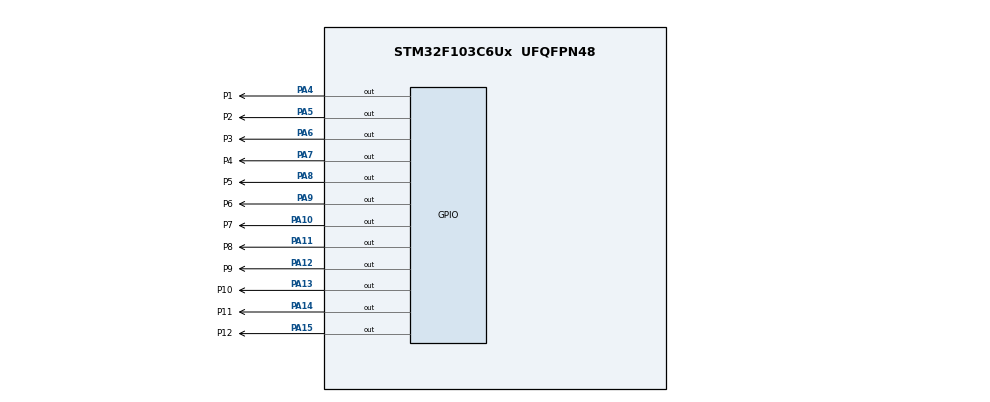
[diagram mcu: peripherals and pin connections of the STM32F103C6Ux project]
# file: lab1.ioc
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Mcu.Family=STM32F1
Mcu.Name=STM32F103C6Ux
Mcu.Package=UFQFPN48
NVIC.PriorityGroup=NVIC_PRIORITYGROUP_4
PA10.GPIO_Label=P7
PA10.Signal=GPIO_Output
PA11.GPIO_Label=P8
PA11.Signal=GPIO_Output
PA12.GPIO_Label=P9
PA12.Signal=GPIO_Output
PA13.GPIO_Label=P10
PA13.Signal=GPIO_Output
PA14.GPIO_Label=P11
PA14.Signal=GPIO_Output
PA15.GPIO_Label=P12
PA15.Signal=GPIO_Output
PA4.GPIO_Label=P1
PA4.Signal=GPIO_Output
PA5.GPIO_Label=P2
PA5.Signal=GPIO_Output
PA6.GPIO_Label=P3
PA6.Signal=GPIO_Output
PA7.GPIO_Label=P4
PA7.Signal=GPIO_Output
PA8.GPIO_Label=P5
PA8.Signal=GPIO_Output
PA9.GPIO_Label=P6
PA9.Signal=GPIO_Output
ProjectManager.HeapSize=0x200
ProjectManager.StackSize=0x400
ProjectManager.TargetToolchain=STM32CubeIDE
RCC.APB1Freq_Value=8000000
RCC.APB2Freq_Value=8000000
VP_SYS_VS_ND.Mode=No_Debug
board=custom

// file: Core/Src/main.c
/* USER CODE BEGIN Header */
/**
  ******************************************************************************
  * @file           : main.c
  * @brief          : Main program body
  ******************************************************************************
  * @attention
  *
  * <h2><center>&copy; Copyright (c) 2022 STMicroelectronics.
  * All rights reserved.</center></h2>
  *
  * This software component is licensed by ST under BSD 3-Clause license,
  * the "License"; You may not use this file except in compliance with the
  * License. You may obtain a copy of the License at:
  *                        opensource.org/licenses/BSD-3-Clause
  *
  ******************************************************************************
  */
/* USER CODE END Header */
#include "main.h"

void SystemClock_Config(void);
static void MX_GPIO_Init(void);
/* USER CODE BEGIN PFP */
void clearAllClock();
void clockDisplay(int hour, int min, int sec);
void singleLedDisplay(int num);
/* USER CODE END PFP */

int main(void)
{

  /* MCU Configuration--------------------------------------------------------*/

  /* Reset of all peripherals, Initializes the Flash interface and the Systick. */
  HAL_Init();

  /* Configure the system clock */
  SystemClock_Config();

  /* Initialize all configured peripherals */
  MX_GPIO_Init();

  /* Infinite loop */
  /* USER CODE BEGIN WHILE */
  int hour = 0, min = 0, sec = 0;
  while (1)
  {
    /* USER CODE END WHILE */
	  //ex10
	  	  sec++;

	  	  if(sec >= 60){
	  		  sec = 0;
	  		  min++;
	  	  }
	  	  if(min >= 60){
	  		  hour++;
	  		  min = 0;
	  	  }
	  	  if(hour >= 24) hour = 0;
	  	  //display
	  	  clockDisplay(hour, min, sec);
	  	  HAL_Delay (20);
  }
}

void SystemClock_Config(void)
{
  RCC_OscInitTypeDef RCC_OscInitStruct = {0};
  RCC_ClkInitTypeDef RCC_ClkInitStruct = {0};

  /** Initializes the RCC Oscillators according to the specified parameters
  * in the RCC_OscInitTypeDef structure.
  */
  RCC_OscInitStruct.OscillatorType = RCC_OSCILLATORTYPE_HSI;
  RCC_OscInitStruct.HSIState = RCC_HSI_ON;
  RCC_OscInitStruct.HSICalibrationValue = RCC_HSICALIBRATION_DEFAULT;
  RCC_OscInitStruct.PLL.PLLState = RCC_PLL_NONE;
  if (HAL_RCC_OscConfig(&RCC_OscInitStruct) != HAL_OK)
  {
    Error_Handler();
  }
  /** Initializes the CPU, AHB and APB buses clocks
  */
  RCC_ClkInitStruct.ClockType = RCC_CLOCKTYPE_HCLK|RCC_CLOCKTYPE_SYSCLK
                              |RCC_CLOCKTYPE_PCLK1|RCC_CLOCKTYPE_PCLK2;
  RCC_ClkInitStruct.SYSCLKSource = RCC_SYSCLKSOURCE_HSI;
  RCC_ClkInitStruct.AHBCLKDivider = RCC_SYSCLK_DIV1;
  RCC_ClkInitStruct.APB1CLKDivider = RCC_HCLK_DIV1;
  RCC_ClkInitStruct.APB2CLKDivider = RCC_HCLK_DIV1;

  if (HAL_RCC_ClockConfig(&RCC_ClkInitStruct, FLASH_LATENCY_0) != HAL_OK)
  {
    Error_Handler();
  }
}

static void MX_GPIO_Init(void)
{
  GPIO_InitTypeDef GPIO_InitStruct = {0};

  /* GPIO Ports Clock Enable */
  __HAL_RCC_GPIOA_CLK_ENABLE();

  /*Configure GPIO pin Output Level */
  HAL_GPIO_WritePin(GPIOA, P1_Pin|P2_Pin|P3_Pin|P4_Pin
                          |P5_Pin|P6_Pin|P7_Pin|P8_Pin
                          |P9_Pin|P10_Pin|P11_Pin|P12_Pin, GPIO_PIN_RESET);

  /*Configure GPIO pins : P1_Pin P2_Pin P3_Pin P4_Pin
                           P5_Pin P6_Pin P7_Pin P8_Pin
                           P9_Pin P10_Pin P11_Pin P12_Pin */
  GPIO_InitStruct.Pin = P1_Pin|P2_Pin|P3_Pin|P4_Pin
                          |P5_Pin|P6_Pin|P7_Pin|P8_Pin
                          |P9_Pin|P10_Pin|P11_Pin|P12_Pin;
  GPIO_InitStruct.Mode = GPIO_MODE_OUTPUT_PP;
  GPIO_InitStruct.Pull = GPIO_NOPULL;
  GPIO_InitStruct.Speed = GPIO_SPEED_FREQ_LOW;
  HAL_GPIO_Init(GPIOA, &GPIO_InitStruct);

}

/* USER CODE BEGIN 4 */
void clockDisplay(int hour, int min, int sec){
	  int hourD, minD, secD;
	  if(sec%5 >= 3){
	  	  secD = sec/5+1;
	  }
	  else{
          if(sec/5 == 0) secD = 12;
  	      else secD = sec/5;
	  }
	  if(min%5 >= 3){
		  minD = min/5+1;
	  }
	  else{
  	      if(min/5 == 0) minD = 12;
	 	  else minD = min/5;
	  }
	  if(hour%12 == 0){
	  	  hourD = 12;
	  }
	  else hourD = hour%12;

	  clearAllClock();
	  singleLedDisplay(secD);
	  singleLedDisplay(minD);
	  singleLedDisplay(hourD);
}

void singleLedDisplay(int num){
	switch(num){
	case 1:
		HAL_GPIO_WritePin ( P1_GPIO_Port , P1_Pin ,GPIO_PIN_RESET );
		break;
	case 2:
		HAL_GPIO_WritePin ( P2_GPIO_Port , P2_Pin ,GPIO_PIN_RESET );
		break;
	case 3:
		HAL_GPIO_WritePin ( P3_GPIO_Port , P3_Pin ,GPIO_PIN_RESET );
		break;
	case 4:
		HAL_GPIO_WritePin ( P4_GPIO_Port , P4_Pin ,GPIO_PIN_RESET );
		break;
	case 5:
		HAL_GPIO_WritePin ( P5_GPIO_Port , P5_Pin ,GPIO_PIN_RESET );
		break;
	case 6:
		HAL_GPIO_WritePin ( P6_GPIO_Port , P6_Pin ,GPIO_PIN_RESET );
		break;
	case 7:
		HAL_GPIO_WritePin ( P7_GPIO_Port , P7_Pin ,GPIO_PIN_RESET );
		break;
	case 8:
		HAL_GPIO_WritePin ( P8_GPIO_Port , P8_Pin ,GPIO_PIN_RESET );
		break;
	case 9:
		HAL_GPIO_WritePin ( P9_GPIO_Port , P9_Pin ,GPIO_PIN_RESET );
		break;
	case 10:
		HAL_GPIO_WritePin ( P10_GPIO_Port , P10_Pin ,GPIO_PIN_RESET );
		break;
	case 11:
		HAL_GPIO_WritePin ( P11_GPIO_Port , P11_Pin ,GPIO_PIN_RESET );
		break;
	case 12:
		HAL_GPIO_WritePin ( P12_GPIO_Port , P12_Pin ,GPIO_PIN_RESET );
		break;
	default:
		HAL_GPIO_WritePin ( P12_GPIO_Port , P12_Pin ,GPIO_PIN_RESET );
		break;
	}
}

void clearAllClock() {
	HAL_GPIO_WritePin ( P1_GPIO_Port , P1_Pin ,GPIO_PIN_SET );
	HAL_GPIO_WritePin ( P2_GPIO_Port , P2_Pin ,GPIO_PIN_SET );
	HAL_GPIO_WritePin ( P3_GPIO_Port , P3_Pin ,GPIO_PIN_SET );
	HAL_GPIO_WritePin ( P4_GPIO_Port , P4_Pin ,GPIO_PIN_SET );
	HAL_GPIO_WritePin ( P5_GPIO_Port , P5_Pin ,GPIO_PIN_SET );
	HAL_GPIO_WritePin ( P6_GPIO_Port , P6_Pin ,GPIO_PIN_SET );
	HAL_GPIO_WritePin ( P7_GPIO_Port , P7_Pin ,GPIO_PIN_SET );
	HAL_GPIO_WritePin ( P8_GPIO_Port , P8_Pin ,GPIO_PIN_SET );
	HAL_GPIO_WritePin ( P9_GPIO_Port , P9_Pin ,GPIO_PIN_SET );
	HAL_GPIO_WritePin ( P10_GPIO_Port , P10_Pin ,GPIO_PIN_SET );
	HAL_GPIO_WritePin ( P11_GPIO_Port , P11_Pin ,GPIO_PIN_SET );
	HAL_GPIO_WritePin ( P12_GPIO_Port , P12_Pin ,GPIO_PIN_SET );
}
/* USER CODE END 4 */

void Error_Handler(void)
{
  __disable_irq();
  while (1)
  {
  }
}

/************************ (C) COPYRIGHT STMicroelectronics *****END OF FILE****/
